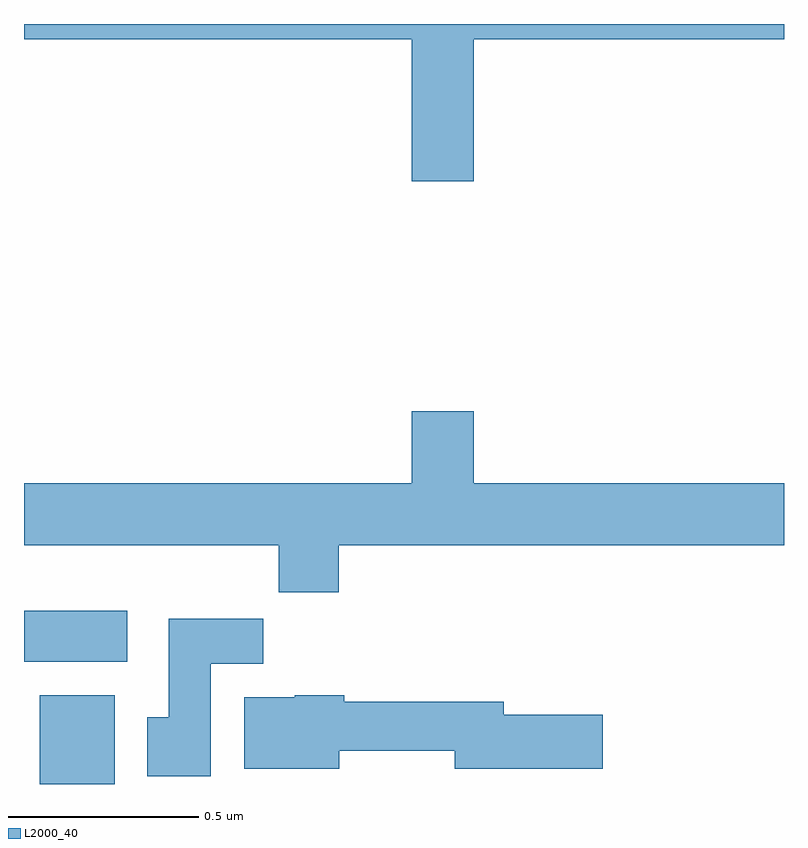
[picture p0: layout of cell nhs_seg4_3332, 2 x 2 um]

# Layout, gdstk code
import gdstk
lib = gdstk.Library(unit=1e-6, precision=1e-09)
def R(c, l, rs):  # rectangles x0, y0, x1, y1
    for r in rs: c.add(gdstk.rectangle(r[:2], r[2:], *l))
def P(c, l, *ps):  # polygons
    for p in ps: c.add(gdstk.Polygon(p, *l))
L2000_40 = (2000, 40)

nhs_seg4_3332 = lib.new_cell('nhs_seg4_3332')
R(nhs_seg4_3332, L2000_40, [(152.042,754.9,152.239,755.134), (152,755.222,152.272,755.356)])
P(nhs_seg4_3332, L2000_40, [(153.184,756.86),(154,756.86),(154,756.9),(152,756.9),(152,756.86),(153.02,756.86),(153.02,756.486),(153.184,756.486)],
  [(152.828,755.528),(154,755.528),(154,755.692),(153.184,755.692),(153.184,755.881),(153.02,755.881),(153.02,755.692),(152,755.692),(152,755.528),(152.671,755.528),(152.671,755.404),(152.828,755.404)],
  [(152.491,755.216),(152.63,755.216),(152.63,755.335),(152.381,755.335),(152.381,755.076),(152.324,755.076),(152.324,754.92),(152.491,754.92)],
  [(152.83,754.987),(153.134,754.987),(153.134,754.94),(153.523,754.94),(153.523,755.082),(153.262,755.082),(153.262,755.116),(152.843,755.116),(152.843,755.134),(152.712,755.134),(152.712,755.128),(152.579,755.128),(152.579,754.94),(152.83,754.94)])

lib.write_gds('nhs_seg4_3332.gds')
